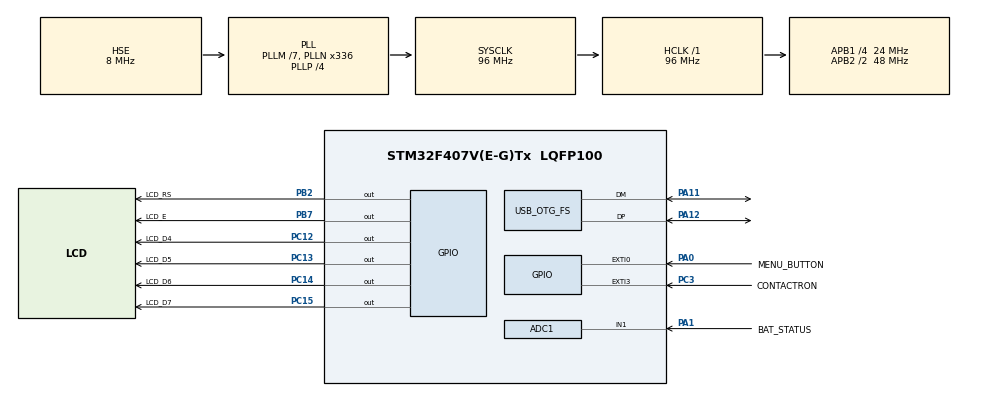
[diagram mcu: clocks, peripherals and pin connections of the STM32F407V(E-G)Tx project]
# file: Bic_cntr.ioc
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ADC1.Channel-0\#ChannelRegularConversion=ADC_CHANNEL_1
ADC1.ClockPrescaler=ADC_CLOCK_SYNC_PCLK_DIV8
ADC1.ContinuousConvMode=ENABLE
ADC1.DMAContinuousRequests=ENABLE
ADC1.NbrOfConversion=1
ADC1.NbrOfConversionFlag=1
ADC1.Rank-0\#ChannelRegularConversion=1
ADC1.SamplingTime-0\#ChannelRegularConversion=ADC_SAMPLETIME_480CYCLES
ADC1.ScanConvMode=ENABLE
ADC1.master=1
Dma.ADC1.0.Direction=DMA_PERIPH_TO_MEMORY
Dma.ADC1.0.FIFOMode=DMA_FIFOMODE_DISABLE
Dma.ADC1.0.Instance=DMA2_Stream0
Dma.ADC1.0.MemDataAlignment=DMA_MDATAALIGN_HALFWORD
Dma.ADC1.0.MemInc=DMA_MINC_ENABLE
Dma.ADC1.0.Mode=DMA_CIRCULAR
Dma.ADC1.0.PeriphDataAlignment=DMA_PDATAALIGN_HALFWORD
Dma.ADC1.0.PeriphInc=DMA_PINC_DISABLE
Dma.ADC1.0.Priority=DMA_PRIORITY_LOW
Dma.Request0=ADC1
Mcu.Family=STM32F4
Mcu.Name=STM32F407V(E-G)Tx
Mcu.Package=LQFP100
NVIC.DMA2_Stream0_IRQn=true\:0\:0\:false\:false\:true
NVIC.EXTI0_IRQn=true\:1\:0\:true\:false\:true
NVIC.EXTI3_IRQn=true\:0\:0\:false\:false\:true
NVIC.OTG_FS_IRQn=true\:0\:0\:false\:false\:true
NVIC.PriorityGroup=NVIC_PRIORITYGROUP_4
NVIC.TIM1_UP_TIM10_IRQn=true\:0\:0\:false\:false\:true
PA0-WKUP.GPIO_Label=MENU_BUTTON
PA0-WKUP.Signal=GPXTI0
PA1.GPIO_Label=BAT_STATUS
PA1.Signal=ADCx_IN1
PA11.Mode=Device_Only
PA11.Signal=USB_OTG_FS_DM
PA12.Mode=Device_Only
PA12.Signal=USB_OTG_FS_DP
PB2.GPIO_Label=LCD_RS
PB2.Signal=GPIO_Output
PB7.GPIO_Label=LCD_E
PB7.Signal=GPIO_Output
PC12.GPIO_Label=LCD_D4
PC12.Signal=GPIO_Output
PC13-ANTI_TAMP.GPIO_Label=LCD_D5
PC13-ANTI_TAMP.Signal=GPIO_Output
PC14-OSC32_IN.GPIO_Label=LCD_D6
PC14-OSC32_IN.Signal=GPIO_Output
PC15-OSC32_OUT.GPIO_Label=LCD_D7
PC15-OSC32_OUT.Signal=GPIO_Output
PC3.GPIO_Label=CONTACTRON
PC3.GPIO_ModeDefaultEXTI=GPIO_MODE_IT_FALLING
PC3.GPIO_PuPd=GPIO_PULLUP
PC3.Signal=GPXTI3
PH0-OSC_IN.Mode=HSE-External-Clock-Source
PH0-OSC_IN.Signal=RCC_OSC_IN
PH1-OSC_OUT.Mode=HSE-External-Clock-Source
PH1-OSC_OUT.Signal=RCC_OSC_OUT
ProjectManager.HeapSize=0x200
ProjectManager.StackSize=0x400
ProjectManager.TargetToolchain=SW4STM32
RCC.48MHZClocksFreq_Value=48000000.00000001
RCC.AHBFreq_Value=96000000.00000001
RCC.APB1CLKDivider=RCC_HCLK_DIV4
RCC.APB1Freq_Value=24000000.000000004
RCC.APB1TimFreq_Value=48000000.00000001
RCC.APB2CLKDivider=RCC_HCLK_DIV2
RCC.APB2Freq_Value=48000000.00000001
RCC.APB2TimFreq_Value=96000000.00000001
RCC.CortexFreq_Value=96000000.00000001
RCC.HCLKFreq_Value=96000000.00000001
RCC.HSE_Timout=5000
RCC.HSE_VALUE=8000000
RCC.HSI_VALUE=16000000
RCC.LSE_VALUE=32768
RCC.PLLM=7
RCC.PLLN=336
RCC.PLLP=RCC_PLLP_DIV4
RCC.PLLQ=8
RCC.SYSCLKFreq_VALUE=96000000.00000001
RCC.SYSCLKSource=RCC_SYSCLKSOURCE_PLLCLK
RCC.VCOOutputFreq_Value=384000000.00000006
SH.ADCx_IN1.0=ADC1_IN1,IN1
TIM10.ClockDivision=TIM_CLOCKDIVISION_DIV1
TIM10.Period=19
TIM10.Prescaler=9999
USB_DEVICE.CLASS_NAME_FS=CDC
USB_DEVICE.VirtualModeFS=Cdc_FS
USB_OTG_FS.VirtualMode=Device_Only
VP_TIM10_VS_ClockSourceINT.Mode=Enable_Timer
VP_USB_DEVICE_VS_USB_DEVICE_CDC_FS.Mode=CDC_FS
board=Bic_cntr

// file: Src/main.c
/**
  ******************************************************************************
  * File Name          : main.c
  * Description        : Main program body
  ******************************************************************************
  *
  * Copyright (c) 2017 STMicroelectronics International N.V.
  * All rights reserved.
  *
  * Redistribution and use in source and binary forms, with or without
  * modification, are permitted, provided that the following conditions are met:
  *
  * 1. Redistribution of source code must retain the above copyright notice,
  *    this list of conditions and the following disclaimer.
  * 2. Redistributions in binary form must reproduce the above copyright notice,
  *    this list of conditions and the following disclaimer in the documentation
  *    and/or other materials provided with the distribution.
  * 3. Neither the name of STMicroelectronics nor the names of other
  *    contributors to this software may be used to endorse or promote products
  *    derived from this software without specific written permission.
  * 4. This software, including modifications and/or derivative works of this
  *    software, must execute solely and exclusively on microcontroller or
  *    microprocessor devices manufactured by or for STMicroelectronics.
  * 5. Redistribution and use of this software other than as permitted under
  *    this license is void and will automatically terminate your rights under
  *    this license.
  *
  * THIS SOFTWARE IS PROVIDED BY STMICROELECTRONICS AND CONTRIBUTORS "AS IS"
  * AND ANY EXPRESS, IMPLIED OR STATUTORY WARRANTIES, INCLUDING, BUT NOT
  * LIMITED TO, THE IMPLIED WARRANTIES OF MERCHANTABILITY, FITNESS FOR A
  * PARTICULAR PURPOSE AND NON-INFRINGEMENT OF THIRD PARTY INTELLECTUAL PROPERTY
  * RIGHTS ARE DISCLAIMED TO THE FULLEST EXTENT PERMITTED BY LAW. IN NO EVENT
  * SHALL STMICROELECTRONICS OR CONTRIBUTORS BE LIABLE FOR ANY DIRECT, INDIRECT,
  * INCIDENTAL, SPECIAL, EXEMPLARY, OR CONSEQUENTIAL DAMAGES (INCLUDING, BUT NOT
  * LIMITED TO, PROCUREMENT OF SUBSTITUTE GOODS OR SERVICES; LOSS OF USE, DATA,
  * OR PROFITS; OR BUSINESS INTERRUPTION) HOWEVER CAUSED AND ON ANY THEORY OF
  * LIABILITY, WHETHER IN CONTRACT, STRICT LIABILITY, OR TORT (INCLUDING
  * NEGLIGENCE OR OTHERWISE) ARISING IN ANY WAY OUT OF THE USE OF THIS SOFTWARE,
  * EVEN IF ADVISED OF THE POSSIBILITY OF SUCH DAMAGE.
  *
  ******************************************************************************
  */
#include "main.h"
#include "stm32f4xx_hal.h"
#include "usb_device.h"

/* USER CODE BEGIN Includes */
#include "usbd_cdc_if.h"
#include "tm_stm32_hd44780.h"
#include "menu.h"
#include "Battery_Control/Battery_Control.h"
#include "Basic_Parameters/Basic_parameters.h"
#include "PC_Interface/PC_Interface.h"

/* USER CODE END Includes */

ADC_HandleTypeDef hadc1;
DMA_HandleTypeDef hdma_adc1;

TIM_HandleTypeDef htim10;

/* USER CODE BEGIN PV */
/* Private variables ---------------------------------------------------------*/
extern Battery_Control BattControl;
extern Basic_Parameter BasParamMod;
extern PC_Interface usbInterfaceMod;
short int last_option = USB_CONF_MENU;

static short int toggled_menu = MAIN_MENU;
static short int round_finished = FALSE;

volatile int time;
volatile int inactivity_timeout;
volatile long long periods;

/* USER CODE END PV */

void SystemClock_Config(void);
void Error_Handler(void);
static void MX_GPIO_Init(void);
static void MX_DMA_Init(void);
static void MX_TIM10_Init(void);
static void MX_ADC1_Init(void);

/* USER CODE BEGIN PFP */
/* Private function prototypes -----------------------------------------------*/

/**
 * Callback for handling low battery level
 */
void HAL_ADC_ConvCpltCallback(ADC_HandleTypeDef* hadc) {
	if (hadc->Instance == hadc1.Instance) {
		if (BattControl.evalBattLevel(&BattControl)
				< BattControl.low_level_threshold)
			lcdPutStrSecRow("LOW BATT LVL!!!");
	}
}

/**
 * Callback for handling contactron and menu button interrupt vectors
 */
void HAL_GPIO_EXTI_Callback(uint16_t GPIO_Pin) {
	if (GPIO_Pin == MENU_BUTTON_Pin) {
		if (toggled_menu < MENU_SIZE - 1) {
			toggled_menu++;
		} else {
			toggled_menu = MAIN_MENU;
		}
	} else if (GPIO_Pin == CONTACTRON_Pin) {
		round_finished = TRUE;
		periods++;
	}
}

/**
 * Callback for handling time ticks, inactivity watchdog
 * and measuring wheel's round time
 * @param timer handler
 */
void HAL_TIM_PeriodElapsedCallback(TIM_HandleTypeDef *htim) {
	if (htim->Instance == TIM10) {
		BasParamMod.round_time_ms++;
		time++;
		inactivity_timeout++;
		if (time++ >= 1000) {
			time = 0;
			BasParamMod.tickTime(&BasParamMod);
		}
		if (inactivity_timeout > 10000) {
			//TODO: save state avg vel,dist,time
			BasParamMod.evalVelocity(&BasParamMod);
			BasParamMod.resetBasParams(&BasParamMod);
		}
	}
}

/**
 * Function for sleeping for desired nr of miliseconds
 * @param miliseconds
 */
void my_delay_ms(int value) {
	BasParamMod.round_time_ms = 0;
	HAL_TIM_Base_Start_IT(&htim10);
	while (BasParamMod.round_time_ms < value) {
	}
	return;
}
/* USER CODE END PFP */

int main(void)
{

  /* USER CODE BEGIN 1 */
	 menu_state menu[] = {
			 {.patterns = {{0, FIRST_ROW, "V:"}, {3, FIRST_ROW, BasParamMod.velocity_string}, {9, FIRST_ROW, "km/h"}, {0, SECOND_ROW, "T:"}, {3, SECOND_ROW, BasParamMod.time_hrs}, {6, SECOND_ROW, "h"},{8, SECOND_ROW, BasParamMod.time_min}, {10, SECOND_ROW, "m"}, {12, SECOND_ROW, BasParamMod.time_sec}, {14, SECOND_ROW, "s"}}, .state = MAIN_MENU},
			 {.patterns = {{0, FIRST_ROW, "<AVG>"}, {0, SECOND_ROW, "SPEED:"}, {12, SECOND_ROW, "km/h"}}, .state = STAT_MENU},
			 {.patterns = {{2, FIRST_ROW, "<TOTAL> DIST:"}, {5, SECOND_ROW, BasParamMod.distance_string}, {14, SECOND_ROW,"km"}}, .state = STAT_MENU2},
			 {.patterns = {{0, FIRST_ROW, "<USB CONF MODE>"}}, .state = USB_CONF_MENU, .substate = USB_SUBSTATE_INIT},
			 {.patterns = {{0, FIRST_ROW, "<BATT LVL[%]>"}, {13, FIRST_ROW, BattControl.str_battery_level}}, .state = BATT_LEVEL}
			 };
  /* USER CODE END 1 */

  /* MCU Configuration----------------------------------------------------------*/

  /* Reset of all peripherals, Initializes the Flash interface and the Systick. */
  HAL_Init();

  /* Configure the system clock */
  SystemClock_Config();

  /* Initialize all configured peripherals */
  MX_GPIO_Init();
  MX_DMA_Init();
  MX_TIM10_Init();
  MX_USB_DEVICE_Init();
  MX_ADC1_Init();

  /* USER CODE BEGIN 2 */
	HAL_ADC_Start_DMA(&hadc1, (uint32_t*)&(BattControl.bat_voltage), 1);

//Screen Initialization
	TM_HD44780_Init(16, 2);

	TM_HD44780_Puts(0, FIRST_ROW, "Counter v.0.2");
	TM_HD44780_Puts(0, SECOND_ROW, "Aut:Tomek Ferens");
	my_delay_ms(1000);

  /* USER CODE END 2 */

  /* Infinite loop */
  /* USER CODE BEGIN WHILE */
	while (1) {
		if (round_finished) {
			BasParamMod.evalVelocity(&BasParamMod);
			BasParamMod.aggrParams(&BasParamMod);
			round_finished = 0;
			BasParamMod.round_time_ms = 0;
			inactivity_timeout = 0;
		}
		switch (toggled_menu) {
		case MAIN_MENU:
			BasParamMod.timeToStr(&BasParamMod);
			break;
		case STAT_MENU:

			break;
		case STAT_MENU2:
			BasParamMod.evalDist(&BasParamMod);
			break;
		case BATT_LEVEL:
			BattControl.battlvlToStr(&BattControl);
			break;
		case USB_CONF_MENU:
			if (usbInterfaceMod.receivedDataFlag == TRUE) {
				usbInterfaceMod.receivedDataFlag = FALSE;
				int state = usbInterfaceMod.runStateMachine(&usbInterfaceMod);
				char state_str[2];
				itoa(state, state_str, 10);
				char str[15];
				strcpy(str, "Actual state : ");
				strncat(str, state_str, 1);

				lcdPutStrSecRow(str);
			} else {
				lcdPutStrSecRow("Wait2connect...");
			}
			break;
		}

		if (last_option != toggled_menu) {
			draw_state_lcd(&menu[toggled_menu]);
			last_option = toggled_menu;
		} else {
			draw_state_lcd(&menu[last_option]);
			Delayms(10);
		}
  /* USER CODE END WHILE */

	}

}

/** System Clock Configuration
*/
void SystemClock_Config(void)
{

  RCC_OscInitTypeDef RCC_OscInitStruct;
  RCC_ClkInitTypeDef RCC_ClkInitStruct;

    /**Configure the main internal regulator output voltage
    */
  __HAL_RCC_PWR_CLK_ENABLE();

  __HAL_PWR_VOLTAGESCALING_CONFIG(PWR_REGULATOR_VOLTAGE_SCALE1);

    /**Initializes the CPU, AHB and APB busses clocks
    */
  RCC_OscInitStruct.OscillatorType = RCC_OSCILLATORTYPE_HSE;
  RCC_OscInitStruct.HSEState = RCC_HSE_BYPASS;
  RCC_OscInitStruct.PLL.PLLState = RCC_PLL_ON;
  RCC_OscInitStruct.PLL.PLLSource = RCC_PLLSOURCE_HSE;
  RCC_OscInitStruct.PLL.PLLM = 7;
  RCC_OscInitStruct.PLL.PLLN = 336;
  RCC_OscInitStruct.PLL.PLLP = RCC_PLLP_DIV4;
  RCC_OscInitStruct.PLL.PLLQ = 8;
  if (HAL_RCC_OscConfig(&RCC_OscInitStruct) != HAL_OK)
  {
    Error_Handler();
  }

    /**Initializes the CPU, AHB and APB busses clocks
    */
  RCC_ClkInitStruct.ClockType = RCC_CLOCKTYPE_HCLK|RCC_CLOCKTYPE_SYSCLK
                              |RCC_CLOCKTYPE_PCLK1|RCC_CLOCKTYPE_PCLK2;
  RCC_ClkInitStruct.SYSCLKSource = RCC_SYSCLKSOURCE_PLLCLK;
  RCC_ClkInitStruct.AHBCLKDivider = RCC_SYSCLK_DIV1;
  RCC_ClkInitStruct.APB1CLKDivider = RCC_HCLK_DIV4;
  RCC_ClkInitStruct.APB2CLKDivider = RCC_HCLK_DIV2;

  if (HAL_RCC_ClockConfig(&RCC_ClkInitStruct, FLASH_LATENCY_3) != HAL_OK)
  {
    Error_Handler();
  }

    /**Configure the Systick interrupt time
    */
  HAL_SYSTICK_Config(HAL_RCC_GetHCLKFreq()/1000);

    /**Configure the Systick
    */
  HAL_SYSTICK_CLKSourceConfig(SYSTICK_CLKSOURCE_HCLK);

  /* SysTick_IRQn interrupt configuration */
  HAL_NVIC_SetPriority(SysTick_IRQn, 0, 0);
}

/* ADC1 init function */
static void MX_ADC1_Init(void)
{

  ADC_ChannelConfTypeDef sConfig;

    /**Configure the global features of the ADC (Clock, Resolution, Data Alignment and number of conversion)
    */
  hadc1.Instance = ADC1;
  hadc1.Init.ClockPrescaler = ADC_CLOCK_SYNC_PCLK_DIV8;
  hadc1.Init.Resolution = ADC_RESOLUTION_12B;
  hadc1.Init.ScanConvMode = ENABLE;
  hadc1.Init.ContinuousConvMode = ENABLE;
  hadc1.Init.DiscontinuousConvMode = DISABLE;
  hadc1.Init.ExternalTrigConvEdge = ADC_EXTERNALTRIGCONVEDGE_NONE;
  hadc1.Init.ExternalTrigConv = ADC_SOFTWARE_START;
  hadc1.Init.DataAlign = ADC_DATAALIGN_RIGHT;
  hadc1.Init.NbrOfConversion = 1;
  hadc1.Init.DMAContinuousRequests = ENABLE;
  hadc1.Init.EOCSelection = ADC_EOC_SINGLE_CONV;
  if (HAL_ADC_Init(&hadc1) != HAL_OK)
  {
    Error_Handler();
  }

    /**Configure for the selected ADC regular channel its corresponding rank in the sequencer and its sample time.
    */
  sConfig.Channel = ADC_CHANNEL_1;
  sConfig.Rank = 1;
  sConfig.SamplingTime = ADC_SAMPLETIME_480CYCLES;
  if (HAL_ADC_ConfigChannel(&hadc1, &sConfig) != HAL_OK)
  {
    Error_Handler();
  }

}

/* TIM10 init function */
static void MX_TIM10_Init(void)
{

  htim10.Instance = TIM10;
  htim10.Init.Prescaler = 9999;
  htim10.Init.CounterMode = TIM_COUNTERMODE_UP;
  htim10.Init.Period = 19;
  htim10.Init.ClockDivision = TIM_CLOCKDIVISION_DIV1;
  if (HAL_TIM_Base_Init(&htim10) != HAL_OK)
  {
    Error_Handler();
  }

}

static void MX_DMA_Init(void)
{
  /* DMA controller clock enable */
  __HAL_RCC_DMA2_CLK_ENABLE();

  /* DMA interrupt init */
  /* DMA2_Stream0_IRQn interrupt configuration */
  HAL_NVIC_SetPriority(DMA2_Stream0_IRQn, 0, 0);
  HAL_NVIC_EnableIRQ(DMA2_Stream0_IRQn);

}

/** Configure pins as
        * Analog
        * Input
        * Output
        * EVENT_OUT
        * EXTI
*/
static void MX_GPIO_Init(void)
{

  GPIO_InitTypeDef GPIO_InitStruct;

  /* GPIO Ports Clock Enable */
  __HAL_RCC_GPIOC_CLK_ENABLE();
  __HAL_RCC_GPIOH_CLK_ENABLE();
  __HAL_RCC_GPIOA_CLK_ENABLE();
  __HAL_RCC_GPIOB_CLK_ENABLE();

  /*Configure GPIO pin Output Level */
  HAL_GPIO_WritePin(GPIOC, LCD_D5_Pin|LCD_D6_Pin|LCD_D7_Pin|LCD_D4_Pin, GPIO_PIN_RESET);

  /*Configure GPIO pin Output Level */
  HAL_GPIO_WritePin(GPIOB, LCD_RS_Pin|LCD_E_Pin, GPIO_PIN_RESET);

  /*Configure GPIO pins : LCD_D5_Pin LCD_D6_Pin LCD_D7_Pin LCD_D4_Pin */
  GPIO_InitStruct.Pin = LCD_D5_Pin|LCD_D6_Pin|LCD_D7_Pin|LCD_D4_Pin;
  GPIO_InitStruct.Mode = GPIO_MODE_OUTPUT_PP;
  GPIO_InitStruct.Pull = GPIO_NOPULL;
  GPIO_InitStruct.Speed = GPIO_SPEED_FREQ_LOW;
  HAL_GPIO_Init(GPIOC, &GPIO_InitStruct);

  /*Configure GPIO pin : CONTACTRON_Pin */
  GPIO_InitStruct.Pin = CONTACTRON_Pin;
  GPIO_InitStruct.Mode = GPIO_MODE_IT_FALLING;
  GPIO_InitStruct.Pull = GPIO_PULLUP;
  HAL_GPIO_Init(CONTACTRON_GPIO_Port, &GPIO_InitStruct);

  /*Configure GPIO pin : MENU_BUTTON_Pin */
  GPIO_InitStruct.Pin = MENU_BUTTON_Pin;
  GPIO_InitStruct.Mode = GPIO_MODE_IT_RISING;
  GPIO_InitStruct.Pull = GPIO_NOPULL;
  HAL_GPIO_Init(MENU_BUTTON_GPIO_Port, &GPIO_InitStruct);

  /*Configure GPIO pins : LCD_RS_Pin LCD_E_Pin */
  GPIO_InitStruct.Pin = LCD_RS_Pin|LCD_E_Pin;
  GPIO_InitStruct.Mode = GPIO_MODE_OUTPUT_PP;
  GPIO_InitStruct.Pull = GPIO_NOPULL;
  GPIO_InitStruct.Speed = GPIO_SPEED_FREQ_LOW;
  HAL_GPIO_Init(GPIOB, &GPIO_InitStruct);

  /* EXTI interrupt init*/
  HAL_NVIC_SetPriority(EXTI0_IRQn, 1, 0);
  HAL_NVIC_EnableIRQ(EXTI0_IRQn);

  HAL_NVIC_SetPriority(EXTI3_IRQn, 0, 0);
  HAL_NVIC_EnableIRQ(EXTI3_IRQn);

}

void Error_Handler(void)
{
  while(1)
  {
  }
}

/************************ (C) COPYRIGHT STMicroelectronics *****END OF FILE****/
